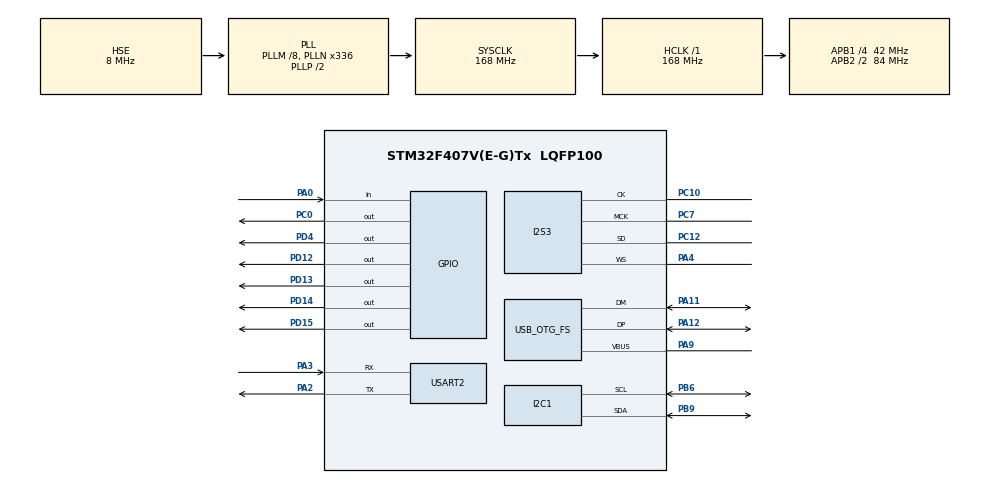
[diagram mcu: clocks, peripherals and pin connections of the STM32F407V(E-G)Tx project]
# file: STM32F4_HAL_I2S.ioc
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Dma.Request0=SPI3_TX
Dma.SPI3_TX.0.Direction=DMA_MEMORY_TO_PERIPH
Dma.SPI3_TX.0.FIFOMode=DMA_FIFOMODE_ENABLE
Dma.SPI3_TX.0.FIFOThreshold=DMA_FIFO_THRESHOLD_FULL
Dma.SPI3_TX.0.Instance=DMA1_Stream5
Dma.SPI3_TX.0.MemBurst=DMA_MBURST_SINGLE
Dma.SPI3_TX.0.MemDataAlignment=DMA_MDATAALIGN_HALFWORD
Dma.SPI3_TX.0.MemInc=DMA_MINC_ENABLE
Dma.SPI3_TX.0.Mode=DMA_CIRCULAR
Dma.SPI3_TX.0.PeriphBurst=DMA_PBURST_SINGLE
Dma.SPI3_TX.0.PeriphDataAlignment=DMA_PDATAALIGN_HALFWORD
Dma.SPI3_TX.0.PeriphInc=DMA_PINC_DISABLE
Dma.SPI3_TX.0.Priority=DMA_PRIORITY_LOW
FATFS._USE_FIND=1
FATFS._USE_LFN=1
I2S3.AudioFreq=I2S_AUDIOFREQ_44K
I2S3.ErrorAudioFreq=-0.12 %
I2S3.FullDuplexMode=I2S_FULLDUPLEXMODE_DISABLE
I2S3.Instance=SPI$Index
I2S3.RealAudioFreq=43.945 KHz
I2S3.VirtualMode=I2S_MODE_MASTER
Mcu.Family=STM32F4
Mcu.Name=STM32F407V(E-G)Tx
Mcu.Package=LQFP100
NVIC.DMA1_Stream5_IRQn=true\:0\:0\:false\:false\:true\:false\:true\:true
NVIC.OTG_FS_IRQn=true\:0\:0\:false\:false\:true\:true\:true\:true
NVIC.PriorityGroup=NVIC_PRIORITYGROUP_0
NVIC.USART2_IRQn=true\:0\:0\:false\:false\:true\:true\:true\:true
PA0-WKUP.Signal=GPIO_Input
PA11.Mode=Host_Only
PA11.Signal=USB_OTG_FS_DM
PA12.Mode=Host_Only
PA12.Signal=USB_OTG_FS_DP
PA13.Mode=Serial_Wire
PA13.Signal=SYS_JTMS-SWDIO
PA14.Mode=Serial_Wire
PA14.Signal=SYS_JTCK-SWCLK
PA2.Mode=Asynchronous
PA2.Signal=USART2_TX
PA3.Mode=Asynchronous
PA3.Signal=USART2_RX
PA4.Mode=Half_Duplex_Master
PA4.Signal=I2S3_WS
PA9.Mode=Activate_VBUS
PA9.Signal=USB_OTG_FS_VBUS
PB6.Mode=I2C
PB6.Signal=I2C1_SCL
PB9.Mode=I2C
PB9.Signal=I2C1_SDA
PC0.Signal=GPIO_Output
PC10.Mode=Half_Duplex_Master
PC10.Signal=I2S3_CK
PC12.Mode=Half_Duplex_Master
PC12.Signal=I2S3_SD
PC7.Mode=Master_Clock_Activated
PC7.Signal=I2S3_MCK
PD12.Signal=GPIO_Output
PD13.Signal=GPIO_Output
PD14.Signal=GPIO_Output
PD15.Signal=GPIO_Output
PD4.Signal=GPIO_Output
PH0-OSC_IN.Mode=HSE-External-Oscillator
PH0-OSC_IN.Signal=RCC_OSC_IN
PH1-OSC_OUT.Mode=HSE-External-Oscillator
PH1-OSC_OUT.Signal=RCC_OSC_OUT
ProjectManager.HeapSize=0x400
ProjectManager.StackSize=0x1000
ProjectManager.TargetToolchain=STM32CubeIDE
RCC.48MHZClocksFreq_Value=48000000
RCC.AHBFreq_Value=168000000
RCC.APB1CLKDivider=RCC_HCLK_DIV4
RCC.APB1Freq_Value=42000000
RCC.APB1TimFreq_Value=84000000
RCC.APB2CLKDivider=RCC_HCLK_DIV2
RCC.APB2Freq_Value=84000000
RCC.APB2TimFreq_Value=168000000
RCC.CortexFreq_Value=168000000
RCC.HCLKFreq_Value=168000000
RCC.HSE_VALUE=8000000
RCC.HSI_VALUE=16000000
RCC.LSE_VALUE=32768
RCC.PLLI2SN=180
RCC.PLLM=8
RCC.PLLN=336
RCC.PLLQ=7
RCC.SYSCLKFreq_VALUE=168000000
RCC.SYSCLKSource=RCC_SYSCLKSOURCE_PLLCLK
RCC.VCOOutputFreq_Value=336000000
USART2.VirtualMode=VM_ASYNC
USB_HOST.BSP.number=1
USB_HOST.USBH_HandleTypeDef-MSC_FS=hUsbHostFS
USB_HOST.VirtualModeFS=Msc
USB_HOST0.BSP.STBoard=false
USB_HOST0.BSP.api=Unknown
USB_HOST0.BSP.instance=PC0
USB_HOST0.BSP.ip=GPIO
USB_HOST0.BSP.mode=Output
USB_HOST0.BSP.name=Drive_VBUS_FS
USB_HOST0.BSP.solution=PC0
USB_OTG_FS.VirtualMode=Host_Only
USB_OTG_FS.phy_itface=HCD_PHY_EMBEDDED
VP_FATFS_VS_USB.Mode=USB
VP_USB_HOST_VS_USB_HOST_MSC_FS.Mode=MSC_FS
board=STM32F407G-DISC1

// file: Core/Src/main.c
/* USER CODE BEGIN Header */
/**
 ******************************************************************************
 * @file           : main.c
 * @brief          : Main program body
 ******************************************************************************
 * @attention
 *
 * Copyright (c) 2022 STMicroelectronics.
 * All rights reserved.
 *
 * This software is licensed under terms that can be found in the LICENSE file
 * in the root directory of this software component.
 * If no LICENSE file comes with this software, it is provided AS-IS.
 *
 ******************************************************************************
 */
/* USER CODE END Header */
#include "main.h"
#include "dma.h"
#include "fatfs.h"
#include "i2c.h"
#include "i2s.h"
#include "usart.h"
#include "usb_host.h"
#include "gpio.h"

/* USER CODE BEGIN Includes */
#include "audioI2S.h"
#include "cs43l22.h"
#include "wav_player.h"
/* USER CODE END Includes */

void SystemClock_Config(void);
void MX_USB_HOST_Process(void);

/* USER CODE BEGIN 0 */

#define LED1_ON 			HAL_GPIO_WritePin(GPIOD, GPIO_PIN_12, GPIO_PIN_SET)
#define LED1_OFF 			HAL_GPIO_WritePin(GPIOD, GPIO_PIN_12, GPIO_PIN_RESET)
#define LED1_TOGGLE		HAL_GPIO_TogglePin(GPIOD, GPIO_PIN_12)
#define LED2_ON 			HAL_GPIO_WritePin(GPIOD, GPIO_PIN_13, GPIO_PIN_SET)
#define LED2_OFF 			HAL_GPIO_WritePin(GPIOD, GPIO_PIN_13, GPIO_PIN_RESET)
#define LED2_TOGGLE		HAL_GPIO_TogglePin(GPIOD, GPIO_PIN_13)
#define LED3_ON 			HAL_GPIO_WritePin(GPIOD, GPIO_PIN_14, GPIO_PIN_SET)
#define LED3_OFF 			HAL_GPIO_WritePin(GPIOD, GPIO_PIN_14, GPIO_PIN_RESET)
#define LED3_TOGGLE		HAL_GPIO_TogglePin(GPIOD, GPIO_PIN_14)
#define LED4_ON 			HAL_GPIO_WritePin(GPIOD, GPIO_PIN_15, GPIO_PIN_SET)
#define LED4_OFF 			HAL_GPIO_WritePin(GPIOD, GPIO_PIN_15, GPIO_PIN_RESET)
#define LED4_TOGGLE		HAL_GPIO_TogglePin(GPIOD, GPIO_PIN_15)

/* UART */
uint8_t rxBuf;

int _write(int file, char *p, int len)
{
	HAL_UART_Transmit(&huart2, (const uint8_t*)p, len, 10);
	return len;
}

void HAL_UART_RxCpltCallback(UART_HandleTypeDef *huart)
{
	playbackState = rxBuf - '0';
	HAL_UART_Receive_IT(huart, &rxBuf, 1);
}
/* UART */

/* USB Mass Storage */
extern ApplicationTypeDef Appli_state;

void MountUSB(void)
{
	FRESULT res = f_mount(&USBHFatFS, USBHPath, 0);
	if(res != FR_OK) {Error_Handler();}
	LED1_ON;
}

void UnMountUSB(void)
{
	FRESULT res = f_mount(NULL, "", 0);
	if(res != FR_OK) {Error_Handler();}
	LED1_OFF;
}
/* USB Mass Storage */

/* Wave Player */
void HandlePlayBackFindFiles(void)
{
	wavPlayer_stop();
	wavPlayer_findFiles();
	printf("WAV file list...\r\n");
	for(int i = 0; i < totalWavFileNum; i++)
	{
		printf("[%02d] File Name: %s, Sampling Rate: %ld bps\r\n", (i + 1), wavFiles[i], wavHeaders[i].SampleRate);
	}
	playbackState = PLAYBACK_STATE_IDLE;
	currentFileIdx = 0;
}

void HandlePlayBackStart(void)
{
  wavPlayer_stop();
	printf("Playing file: %s / %ld bps\r\n", wavFiles[currentFileIdx], wavHeaders[currentFileIdx].SampleRate);
	wavPlayer_fileSelect(wavFiles[currentFileIdx]);
	wavPlayer_play();
	playbackState = PLAYBACK_STATE_PLAY;
}

void HandlePlayBackPlay(void)
{
	wavPlayer_process();
	LED2_ON;
	if(wavPlayer_isFinished())
	{
		playbackState = PLAYBACK_STATE_STOP;
	}
}

void HandlePlayBackStop(void)
{
	printf("Stop playing.\r\n");
	wavPlayer_stop();
	LED2_OFF;
	playbackState = PLAYBACK_STATE_IDLE;
}

void HandlePlayBackPause(void)
{
	printf("Paused.\r\n");
	wavPlayer_pause();
	LED2_OFF;
	playbackState = PLAYBACK_STATE_IDLE;
}

void HandlePlayBackResume(void)
{
	printf("Resume.\r\n");
	wavPlayer_resume();
	playbackState = PLAYBACK_STATE_PLAY;
}

void HandlePlayBackForward(void)
{
	printf("Going forward.\r\n");
	wavPlayer_stop();
	currentFileIdx++;
	if(currentFileIdx >= totalWavFileNum) { currentFileIdx = 0;}
	playbackState = PLAYBACK_STATE_START;
}

void HandlePlayBackBackward(void)
{
	printf("Going backward.\r\n");
	wavPlayer_stop();
	currentFileIdx--;
	if(currentFileIdx >= totalWavFileNum) { currentFileIdx = (totalWavFileNum - 1);}
	playbackState = PLAYBACK_STATE_START;
}

void HandlePlayBackDisplayMenu(void)
{
	printf("Command List...\r\n");
	printf("1: Find files.\r\n");
	printf("2: Start playing.\r\n");
	printf("3: Playing.\r\n");
	printf("4: Stop.\r\n");
	printf("5: Pause.\r\n");
	printf("6: Resume.\r\n");
	printf("7: Forward.\r\n");
	printf("8: Backward.\r\n");

	if(wavPlayer_isFinished())
	{
		playbackState = PLAYBACK_STATE_IDLE;
	}
	else
	{
		playbackState = PLAYBACK_STATE_PLAY;
	}
}

void HandlePlayBack(void)
{
	if((playbackState != PLAYBACK_STATE_IDLE) && (playbackState != PLAYBACK_STATE_FINDFILES))
	{
		if(wavHeaders[currentFileIdx].SampleRate == 0 || wavHeaders[currentFileIdx].FileSize == 0)
		{
			printf("Find WAV files first...\r\n");
			HandlePlayBackDisplayMenu();
		}
	}

	switch(playbackState)
	{
	case PLAYBACK_STATE_IDLE:
		break;
	case PLAYBACK_STATE_FINDFILES:
		HandlePlayBackFindFiles();
		break;
	case PLAYBACK_STATE_START:
		HandlePlayBackStart();
		break;
	case PLAYBACK_STATE_PLAY:
		HandlePlayBackPlay();
		break;
	case PLAYBACK_STATE_STOP:
		HandlePlayBackStop();
		break;
	case PLAYBACK_STATE_PAUSE:
		HandlePlayBackPause();
		break;
	case PLAYBACK_STATE_RESUME:
		HandlePlayBackResume();
		break;
	case PLAYBACK_STATE_FORWARD:
		HandlePlayBackForward();
		break;
	case PLAYBACK_STATE_BACKWARD:
		HandlePlayBackBackward();
		break;
	default:
		HandlePlayBackDisplayMenu();
		break;
	}
}
/* Wave Player */

/* USER CODE END 0 */

int main(void)
{

	/* MCU Configuration--------------------------------------------------------*/

	/* Reset of all peripherals, Initializes the Flash interface and the Systick. */
	HAL_Init();

	/* Configure the system clock */
	SystemClock_Config();

	/* Initialize all configured peripherals */
	MX_GPIO_Init();
	MX_DMA_Init();
	MX_I2C1_Init();
	MX_I2S3_Init();
	MX_FATFS_Init();
	MX_USB_HOST_Init();
	MX_USART2_UART_Init();
	/* USER CODE BEGIN 2 */

	// 2022.12.29 MX_DriverVbusFS code generation is not correct. Control PC0 manually.
	HAL_GPIO_WritePin(GPIOC, GPIO_PIN_0, GPIO_PIN_RESET);

	// Initialize CS43L22
	CS43_Init(hi2c1, CS43_MODE_I2S);
	CS43_SetVolume(160);
	CS43_Enable_RightLeft(CS43_RIGHT_LEFT);
	audioI2S_setHandle(&hi2s3);

	// Enable UART2
	HAL_UART_Receive_IT(&huart2, &rxBuf, 1);

	/* USER CODE END 2 */

	/* Infinite loop */
	while(1)
	{
		MX_USB_HOST_Process();

		/* USER CODE BEGIN 3 */
		if(Appli_state == APPLICATION_START)
		{
			// mount file system
			MountUSB();
		}
		else if(Appli_state == APPLICATION_READY)
		{
			// Handle player
			HandlePlayBack();
		}
		else if(Appli_state == APPLICATION_DISCONNECT)
		{
			wavPlayer_stop();
			UnMountUSB();
		}
	}
	/* USER CODE END 3 */
}

void SystemClock_Config(void)
{
	RCC_OscInitTypeDef RCC_OscInitStruct = {0};
	RCC_ClkInitTypeDef RCC_ClkInitStruct = {0};

	/** Configure the main internal regulator output voltage
	 */
	__HAL_RCC_PWR_CLK_ENABLE();
	__HAL_PWR_VOLTAGESCALING_CONFIG(PWR_REGULATOR_VOLTAGE_SCALE1);

	/** Initializes the RCC Oscillators according to the specified parameters
	 * in the RCC_OscInitTypeDef structure.
	 */
	RCC_OscInitStruct.OscillatorType = RCC_OSCILLATORTYPE_HSE;
	RCC_OscInitStruct.HSEState = RCC_HSE_ON;
	RCC_OscInitStruct.PLL.PLLState = RCC_PLL_ON;
	RCC_OscInitStruct.PLL.PLLSource = RCC_PLLSOURCE_HSE;
	RCC_OscInitStruct.PLL.PLLM = 8;
	RCC_OscInitStruct.PLL.PLLN = 336;
	RCC_OscInitStruct.PLL.PLLP = RCC_PLLP_DIV2;
	RCC_OscInitStruct.PLL.PLLQ = 7;
	if (HAL_RCC_OscConfig(&RCC_OscInitStruct) != HAL_OK)
	{
		Error_Handler();
	}

	/** Initializes the CPU, AHB and APB buses clocks
	 */
	RCC_ClkInitStruct.ClockType = RCC_CLOCKTYPE_HCLK|RCC_CLOCKTYPE_SYSCLK
			|RCC_CLOCKTYPE_PCLK1|RCC_CLOCKTYPE_PCLK2;
	RCC_ClkInitStruct.SYSCLKSource = RCC_SYSCLKSOURCE_PLLCLK;
	RCC_ClkInitStruct.AHBCLKDivider = RCC_SYSCLK_DIV1;
	RCC_ClkInitStruct.APB1CLKDivider = RCC_HCLK_DIV4;
	RCC_ClkInitStruct.APB2CLKDivider = RCC_HCLK_DIV2;

	if (HAL_RCC_ClockConfig(&RCC_ClkInitStruct, FLASH_LATENCY_5) != HAL_OK)
	{
		Error_Handler();
	}
}

void Error_Handler(void)
{
	/* USER CODE BEGIN Error_Handler_Debug */
	/* User can add his own implementation to report the HAL error return state */
	__disable_irq();
	while(1)
	{
		LED3_ON;
	}
	/* USER CODE END Error_Handler_Debug */
}
